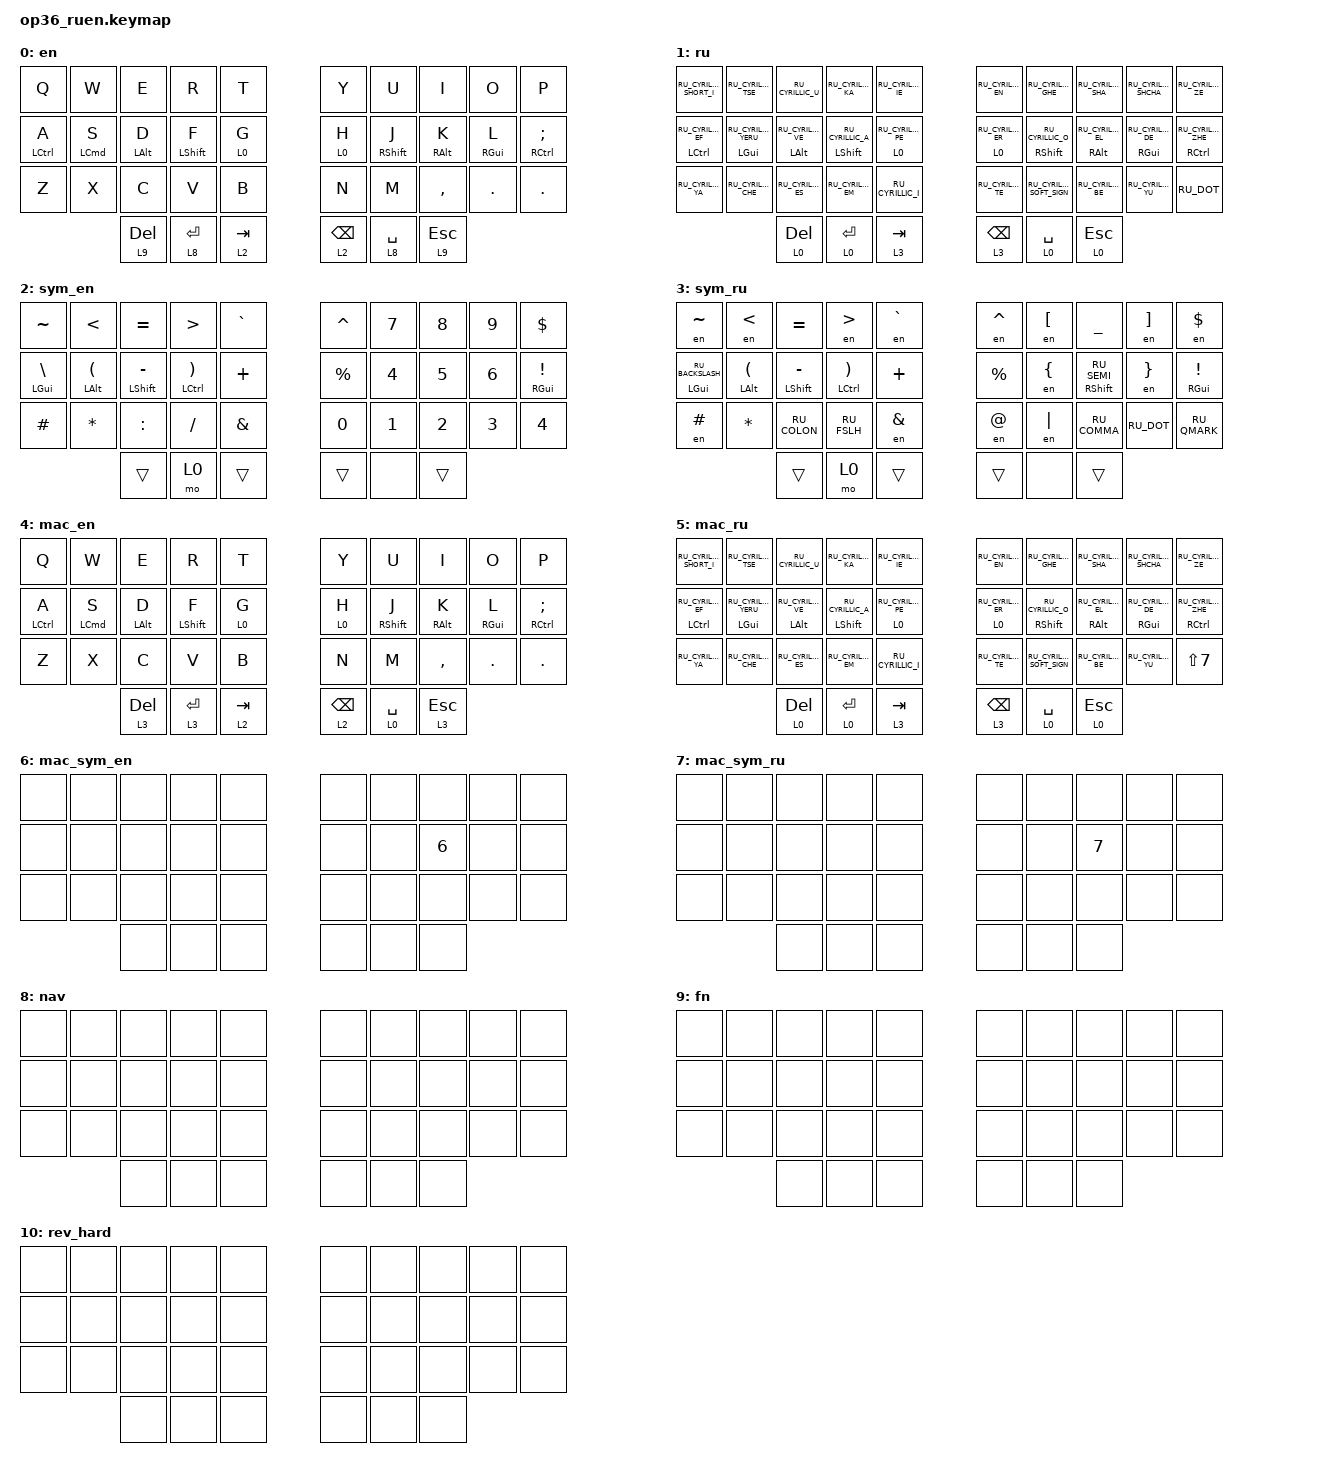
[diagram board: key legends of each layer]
#include "keys_ru.h"
#include <behaviors.dtsi>
#include <dt-bindings/zmk/keys.h>

&mt {
    quick-tap-ms = <200>;
    flavor = "tap-preferred";
    require-prior-idle-ms = <125>;
};

/ {
    behaviors {
        hml: home_row_mod_left {
            compatible = "zmk,behavior-hold-tap";
            #binding-cells = <2>;
            flavor = "balanced";
            require-prior-idle-ms = <150>;
            tapping-term-ms = <280>;
            quick-tap-ms = <175>;
            bindings = <&kp>, <&kp>;

            hold-trigger-key-positions = <5 6 7 8 9 15 16 17 18 19 25 26 27 28 29 33 34 35>;
            hold-trigger-on-release;
        };

        hmr: home_row_mod_right {
            compatible = "zmk,behavior-hold-tap";
            #binding-cells = <2>;
            flavor = "balanced";
            require-prior-idle-ms = <150>;
            tapping-term-ms = <280>;
            quick-tap-ms = <175>;
            bindings = <&kp>, <&kp>;

            hold-trigger-key-positions = <0 1 2 3 4 10 11 12 13 14 20 21 22 23 24 30 31 32>;
            hold-trigger-on-release;
        };
    };

    combos {
        compatible = "zmk,combos";

        kha {
            bindings = <&kp RU_CYRILLIC_HA>;
            key-positions = <6 8>;
            layers = <1>;
        };

        hrdsgn {
            bindings = <&kp RU_CYRILLIC_HARD_SIGN>;
            key-positions = <26 28>;
            layers = <1>;
        };

        cmben {
            bindings = <&layer_en>;
            key-positions = <2 3>;
            layers = <1>;
        };

        cmbru {
            bindings = <&layer_ru>;
            key-positions = <2 3>;
            layers = <0>;
        };

        br1_en {
            bindings = <&kp LEFT_BRACE>;
            key-positions = <26 17>;
            layers = <0>;
        };

        br1_ru {
            bindings = <&en LEFT_BRACE>;
            key-positions = <17 26>;
            layers = <1>;
        };

        ru_ea {
            bindings = <&kp RU_CYRILLIC_E>;
            key-positions = <16 18>;
            layers = <1>;
        };

        ru_io {
            bindings = <&kp RU_CYRILLIC_IO>;
            key-positions = <3 4>;
            layers = <1>;
        };

        en_semicolon {
            bindings = <&kp SEMICOLON>;
            key-positions = <16 17>;
            layers = <0>;
        };

        ru_semicolon {
            bindings = <&kp RU_SEMICOLON>;
            key-positions = <16 17>;
            layers = <1>;
        };

        to_mac_en {
            bindings = <&mac_layer_en>;
            key-positions = <33 34 35>;
            layers = <0 1>;
        };

        to_win_en {
            bindings = <&layer_en>;
            key-positions = <33 34 35>;
        };

        cmb_mac_ru {
            bindings = <&mac_layer_ru>;
            key-positions = <2 3>;
        };

        cmb_mac_en {
            bindings = <&mac_layer_en>;
            key-positions = <2 3>;
        };

        mac_ru_io {
            bindings = <&kp LC(BACKSLASH)>;
            key-positions = <3 4>;
        };

        br {
            bindings = <&kp LS(N9)>;
            key-positions = <16 7>;
        };

        brr {
            bindings = <&kp LS(N0)>;
            key-positions = <6 17>;
        };

        brsquer {
            bindings = <&kp LEFT_BRACKET>;
            key-positions = <26 7>;
            layers = <0 2>;
        };

        brsquerrec {
            bindings = <&kp RIGHT_BRACKET>;
            key-positions = <6 27>;
        };

        brsqure_ru {
            bindings = <&en LEFT_BRACKET>;
            key-positions = <26 7>;
            layers = <1 3>;
        };

        brsqurerev_ru {
            bindings = <&en RIGHT_BRACKET>;
            key-positions = <6 27>;
            layers = <1 3>;
        };
    };

    macros {
        to_ru: to_ru {
            compatible = "zmk,behavior-macro";
            #binding-cells = <0>;
            bindings = <&kp LS(LC(N2))>;
            label = "TO_RU";
        };

        to_en: to_en {
            compatible = "zmk,behavior-macro";
            #binding-cells = <0>;
            bindings = <&kp LS(LC(N1))>;
            label = "TO_EN";
        };

        layer_en: layer_en {
            compatible = "zmk,behavior-macro";
            #binding-cells = <0>;
            bindings = <&to 0 &to_en>;
            label = "LAYER_EN";
        };

        layer_ru: layer_ru {
            compatible = "zmk,behavior-macro";
            #binding-cells = <0>;
            bindings = <&to 1 &to_ru>;
            label = "LAYER_RU";
        };

        en: en {
            compatible = "zmk,behavior-macro-one-param";
            #binding-cells = <1>;
            bindings =
                <&to_en &macro_param_1to1 &kp MACRO_PLACEHOLDER>,
                <&macro_wait_time 10>,
                <&to_ru>,
                <&macro_wait_time 10>;

            label = "EN";
        };

        mac_layer_ru: mac_layer_ru {
            compatible = "zmk,behavior-macro";
            #binding-cells = <0>;
            bindings = <&to 0 &to_ru>;
            label = "MAC_LAYER_RU";
        };

        mac_layer_en: mac_layer_en {
            compatible = "zmk,behavior-macro";
            #binding-cells = <0>;
            bindings = <&to 0 &to_en>;
            label = "MAC_LAYER_EN";
        };
    };

    keymap {
        compatible = "zmk,keymap";

        en {
            bindings = <
  &kp Q         &kp W                &kp E            &kp R              &kp T                                      &kp Y        &kp U               &kp I             &kp O             &kp P
  &hml LCTRL A  &hml LEFT_COMMAND S  &hml LEFT_ALT D  &hml LEFT_SHIFT F  &lt 0 G                                    &lt 0 H      &hmr RIGHT_SHIFT J  &hmr RIGHT_ALT K  &hmr RIGHT_GUI L  &hmr RCTRL SEMICOLON
  &kp Z         &kp X                &kp C            &kp V              &kp B                                      &kp N        &kp M               &kp COMMA         &kp DOT           &kp DOT
                                                      &lt 9 DELETE       &lt 8 ENTER  &lt 2 TAB    &lt 2 BACKSPACE  &lt 8 SPACE  &lt 9 ESC
            >;
        };

        ru {
            bindings = <
  &kp RU_CYRILLIC_SHORT_I    &kp RU_CYRILLIC_TSE             &kp RU_CYRILLIC_U             &kp RU_CYRILLIC_KA             &kp RU_CYRILLIC_IE                                  &kp RU_CYRILLIC_EN    &kp RU_CYRILLIC_GHE             &kp RU_CYRILLIC_SHA            &kp RU_CYRILLIC_SHCHA          &kp RU_CYRILLIC_ZE
  &hml LCTRL RU_CYRILLIC_EF  &hml LEFT_GUI RU_CYRILLIC_YERU  &hml LEFT_ALT RU_CYRILLIC_VE  &hml LEFT_SHIFT RU_CYRILLIC_A  &lt 0 RU_CYRILLIC_PE                                &lt 0 RU_CYRILLIC_ER  &hmr RIGHT_SHIFT RU_CYRILLIC_O  &hmr RIGHT_ALT RU_CYRILLIC_EL  &hmr RIGHT_GUI RU_CYRILLIC_DE  &hmr RCTRL RU_CYRILLIC_ZHE
  &kp RU_CYRILLIC_YA         &kp RU_CYRILLIC_CHE             &kp RU_CYRILLIC_ES            &kp RU_CYRILLIC_EM             &kp RU_CYRILLIC_I                                   &kp RU_CYRILLIC_TE    &kp RU_CYRILLIC_SOFT_SIGN       &kp RU_CYRILLIC_BE             &kp RU_CYRILLIC_YU             &kp RU_DOT
                                                                                           &lt 0 DELETE                   &lt 0 ENTER           &lt 3 TAB    &lt 3 BACKSPACE  &lt 0 SPACE           &lt 0 ESC
            >;
        };

        sym_en {
            bindings = <
  &kp TILDE       &kp LT          &kp EQUAL         &kp GT           &kp GRAVE                    &kp CARET  &kp N7  &kp N8  &kp N9  &kp DLLR
  &hml LGUI BSLH  &hml LALT LPAR  &hml LSHFT MINUS  &hml LCTRL RPAR  &kp PLUS                     &kp PRCNT  &kp N4  &kp N5  &kp N6  &hmr RGUI EXCL
  &kp HASH        &kp STAR        &kp COLON         &kp FSLH         &kp AMPS                     &kp N0     &kp N1  &kp N2  &kp N3  &kp N4
                                                    &trans           &mo 0      &trans    &trans  &none      &trans
            >;
        };

        sym_ru {
            bindings = <
  &en TILDE               &en LT          &kp EQUAL         &en GT           &en GRAVE                    &en CARET  &en LBKT  &kp UNDER           &en RBKT    &en DLLR
  &hml LGUI RU_BACKSLASH  &hml LALT LPAR  &hml LSHFT MINUS  &hml LCTRL RPAR  &kp PLUS                     &kp PRCNT  &en LBRC  &hmr RSHFT RU_SEMI  &en RBRC    &hmr RGUI EXCL
  &en HASH                &kp STAR        &kp RU_COLON      &kp RU_FSLH      &en AMPS                     &en AT     &en PIPE  &kp RU_COMMA        &kp RU_DOT  &kp RU_QMARK
                                                            &trans           &mo 0      &trans    &trans  &none      &trans
            >;
        };

        mac_en {
            bindings = <
  &kp Q         &kp W                &kp E            &kp R              &kp T                                      &kp Y        &kp U               &kp I             &kp O             &kp P
  &hml LCTRL A  &hml LEFT_COMMAND S  &hml LEFT_ALT D  &hml LEFT_SHIFT F  &lt 0 G                                    &lt 0 H      &hmr RIGHT_SHIFT J  &hmr RIGHT_ALT K  &hmr RIGHT_GUI L  &hmr RCTRL SEMICOLON
  &kp Z         &kp X                &kp C            &kp V              &kp B                                      &kp N        &kp M               &kp COMMA         &kp DOT           &kp DOT
                                                      &lt 3 DELETE       &lt 3 ENTER  &lt 2 TAB    &lt 2 BACKSPACE  &lt 0 SPACE  &lt 3 ESC
            >;
        };

        mac_ru {
            bindings = <
  &kp RU_CYRILLIC_SHORT_I    &kp RU_CYRILLIC_TSE             &kp RU_CYRILLIC_U             &kp RU_CYRILLIC_KA             &kp RU_CYRILLIC_IE                                  &kp RU_CYRILLIC_EN    &kp RU_CYRILLIC_GHE             &kp RU_CYRILLIC_SHA            &kp RU_CYRILLIC_SHCHA          &kp RU_CYRILLIC_ZE
  &hml LCTRL RU_CYRILLIC_EF  &hml LEFT_GUI RU_CYRILLIC_YERU  &hml LEFT_ALT RU_CYRILLIC_VE  &hml LEFT_SHIFT RU_CYRILLIC_A  &lt 0 RU_CYRILLIC_PE                                &lt 0 RU_CYRILLIC_ER  &hmr RIGHT_SHIFT RU_CYRILLIC_O  &hmr RIGHT_ALT RU_CYRILLIC_EL  &hmr RIGHT_GUI RU_CYRILLIC_DE  &hmr RCTRL RU_CYRILLIC_ZHE
  &kp RU_CYRILLIC_YA         &kp RU_CYRILLIC_CHE             &kp RU_CYRILLIC_ES            &kp RU_CYRILLIC_EM             &kp RU_CYRILLIC_I                                   &kp RU_CYRILLIC_TE    &kp RU_CYRILLIC_SOFT_SIGN       &kp RU_CYRILLIC_BE             &kp RU_CYRILLIC_YU             &kp LS(N7)
                                                                                           &lt 0 DELETE                   &lt 0 ENTER           &lt 3 TAB    &lt 3 BACKSPACE  &lt 0 SPACE           &lt 0 ESC
            >;
        };

        mac_sym_en {
            bindings = <
  &none  &none  &none  &none  &none                  &none  &none  &none   &none  &none
  &none  &none  &none  &none  &none                  &none  &none  &kp N6  &none  &none
  &none  &none  &none  &none  &none                  &none  &none  &none   &none  &none
                       &none  &none  &none    &none  &none  &none
            >;
        };

        mac_sym_ru {
            bindings = <
  &none  &none  &none  &none  &none                  &none  &none  &none   &none  &none
  &none  &none  &none  &none  &none                  &none  &none  &kp N7  &none  &none
  &none  &none  &none  &none  &none                  &none  &none  &none   &none  &none
                       &none  &none  &none    &none  &none  &none
            >;
        };

        nav {
            bindings = <
  &none  &none  &none  &none  &none                  &none  &none  &none  &none  &none
  &none  &none  &none  &none  &none                  &none  &none  &none  &none  &none
  &none  &none  &none  &none  &none                  &none  &none  &none  &none  &none
                       &none  &none  &none    &none  &none  &none
            >;
        };

        fn {
            bindings = <
  &none  &none  &none  &none  &none                  &none  &none  &none  &none  &none
  &none  &none  &none  &none  &none                  &none  &none  &none  &none  &none
  &none  &none  &none  &none  &none                  &none  &none  &none  &none  &none
                       &none  &none  &none    &none  &none  &none
            >;
        };

        rev_hard {
            bindings = <
  &none  &none  &none  &none  &none                  &none  &none  &none  &none  &none
  &none  &none  &none  &none  &none                  &none  &none  &none  &none  &none
  &none  &none  &none  &none  &none                  &none  &none  &none  &none  &none
                       &none  &none  &none    &none  &none  &none
            >;
        };
    };
};
